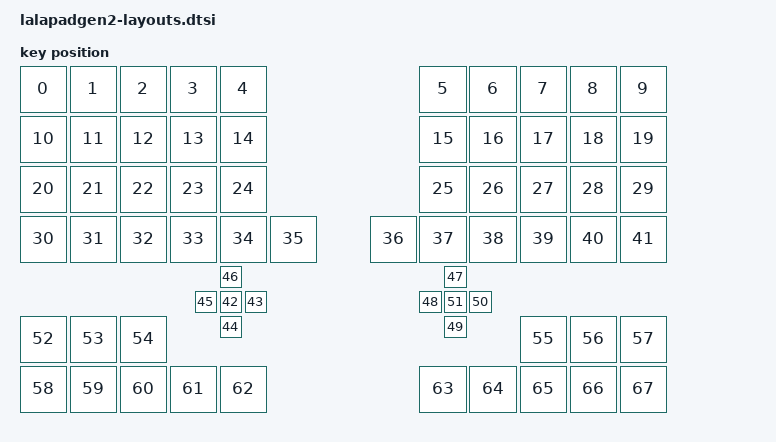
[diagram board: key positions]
#include <physical_layouts.dtsi>

/ {
    lalapadgen2_physical_layout: lalapadgen2_physical_layout {
        compatible = "zmk,physical-layout";
        display-name = "Default";

        kscan = <&kscan0>;
        transform = <&default_transform>;

        keys  //                     w   h    x    y     rot    rx    ry
            = <&key_physical_attrs 100 100      0   0      0     0     0>
            , <&key_physical_attrs 100 100    100   0      0     0     0>
            , <&key_physical_attrs 100 100    200   0      0     0     0>
            , <&key_physical_attrs 100 100    300   0      0     0     0>
            , <&key_physical_attrs 100 100    400   0      0     0     0>
            , <&key_physical_attrs 100 100    800   0      0     0     0>
            , <&key_physical_attrs 100 100    900   0      0     0     0>
            , <&key_physical_attrs 100 100   1000   0      0     0     0>
            , <&key_physical_attrs 100 100   1100   0      0     0     0>
            , <&key_physical_attrs 100 100   1200   0      0     0     0>
            , <&key_physical_attrs 100 100      0 100      0     0     0>
            , <&key_physical_attrs 100 100    100 100      0     0     0>
            , <&key_physical_attrs 100 100    200 100      0     0     0>
            , <&key_physical_attrs 100 100    300 100      0     0     0>
            , <&key_physical_attrs 100 100    400 100      0     0     0>
            , <&key_physical_attrs 100 100    800 100      0     0     0>
            , <&key_physical_attrs 100 100    900 100      0     0     0>
            , <&key_physical_attrs 100 100   1000 100      0     0     0>
            , <&key_physical_attrs 100 100   1100 100      0     0     0>
            , <&key_physical_attrs 100 100   1200 100      0     0     0>
            , <&key_physical_attrs 100 100      0 200      0     0     0>
            , <&key_physical_attrs 100 100    100 200      0     0     0>
            , <&key_physical_attrs 100 100    200 200      0     0     0>
            , <&key_physical_attrs 100 100    300 200      0     0     0>
            , <&key_physical_attrs 100 100    400 200      0     0     0>
            , <&key_physical_attrs 100 100    800 200      0     0     0>
            , <&key_physical_attrs 100 100    900 200      0     0     0>
            , <&key_physical_attrs 100 100   1000 200      0     0     0>
            , <&key_physical_attrs 100 100   1100 200      0     0     0>
            , <&key_physical_attrs 100 100   1200 200      0     0     0>
            , <&key_physical_attrs 100 100      0 300      0     0     0>
            , <&key_physical_attrs 100 100    100 300      0     0     0>
            , <&key_physical_attrs 100 100    200 300      0     0     0>
            , <&key_physical_attrs 100 100    300 300      0     0     0>
            , <&key_physical_attrs 100 100    400 300      0     0     0>
            , <&key_physical_attrs 100 100    500 300      0     0     0>
            , <&key_physical_attrs 100 100    700 300      0     0     0>
            , <&key_physical_attrs 100 100    800 300      0     0     0>
            , <&key_physical_attrs 100 100    900 300      0     0     0>
            , <&key_physical_attrs 100 100   1000 300      0     0     0>
            , <&key_physical_attrs 100 100   1100 300      0     0     0>
            , <&key_physical_attrs 100 100   1200 300      0     0     0>
            , <&key_physical_attrs  50  50    400 450      0     0     0>
            , <&key_physical_attrs  50  50    450 450      0     0     0>
            , <&key_physical_attrs  50  50    400 500      0     0     0>
            , <&key_physical_attrs  50  50    350 450      0     0     0>
            , <&key_physical_attrs  50  50    400 400      0     0     0>
            , <&key_physical_attrs  50  50    850 400      0     0     0>
            , <&key_physical_attrs  50  50    800 450      0     0     0>
            , <&key_physical_attrs  50  50    850 500      0     0     0>
            , <&key_physical_attrs  50  50    900 450      0     0     0>
            , <&key_physical_attrs  50  50    850 450      0     0     0>
            , <&key_physical_attrs 100 100      0 500      0     0     0>
            , <&key_physical_attrs 100 100    100 500      0     0     0>
            , <&key_physical_attrs 100 100    200 500      0     0     0>
            , <&key_physical_attrs 100 100   1000 500      0     0     0>
            , <&key_physical_attrs 100 100   1100 500      0     0     0>
            , <&key_physical_attrs 100 100   1200 500      0     0     0>
            , <&key_physical_attrs 100 100      0 600      0     0     0>
            , <&key_physical_attrs 100 100    100 600      0     0     0>
            , <&key_physical_attrs 100 100    200 600      0     0     0>
            , <&key_physical_attrs 100 100    300 600      0     0     0>
            , <&key_physical_attrs 100 100    400 600      0     0     0>
            , <&key_physical_attrs 100 100    800 600      0     0     0>
            , <&key_physical_attrs 100 100    900 600      0     0     0>
            , <&key_physical_attrs 100 100   1000 600      0     0     0>
            , <&key_physical_attrs 100 100   1100 600      0     0     0>
            , <&key_physical_attrs 100 100   1200 600      0     0     0>
            ;
    };
};

